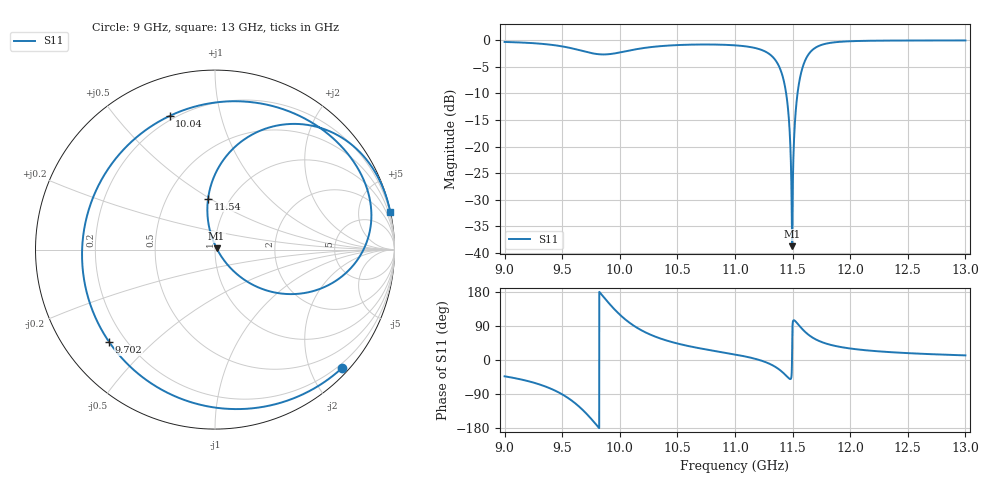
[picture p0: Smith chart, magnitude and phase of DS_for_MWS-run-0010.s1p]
! TOUCHSTONE file generated by CST DESIGN STUDIO
! Date and time: Tue Feb  4 18:08:24 2025
! Project name: C:\Work\MatlabApps\UnitCellOptimizationMatlab\CST\unitcell.cst
! Tree item: Tasks\Sweep1\SPara1\S-Parameters
! Header version: 2024
! Port assignment regex: !\s*Touchstone port\s*([0-9]+)\s*=\s*(CST MWS port|CST DES external port|CST DES block port)\s*(.+)\s* \(\"(.*)\"\)(\s*mode\s*([0-9]+))?.*
! Touchstone port assignment:
! Touchstone port 1 = CST DES external port 1 ("")
# GHz S MA R 50
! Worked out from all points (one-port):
!   4001 points, 9 GHz to 13 GHz, reference 50 ohm
!   lowest |S11| = -38.8 dB at 11.5 GHz (marker M1), VSWR 1.02, Z = 50.9 + j0.787 ohm
!   |S11| at or under -10 dB: 11.44 GHz to 11.54 GHz (98.51 MHz wide, 0.857 % of centre)
!   S11 on the Smith chart (normalised r, x): 9 GHz: 0.12, -2.53; 9.702 GHz: 0.14, -0.37; 10.04 GHz: 0.18, +0.70; 11.54 GHz: 0.79, +0.49; 13 GHz: 0.04, +9.35
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9  0.9675 -43.0
9.278  0.9373 -62.1
9.5  0.8786 -90.7
9.606  0.8316 -112.6
9.702  0.7827 -139.0
9.776  0.7514 -163.7
9.843  0.738 172.1
10  0.7701 119.8
10.041  0.7864 108.7
10.258  0.8621 67.9
10.5  0.9038 43.5
11  0.8988 14.6
11.243  0.8039 -3.1
11.383  0.5676 -24.9
11.449  0.2901 -42.8
11.467  0.1859 -48.1
11.483  0.0847 -50.1
11.496  0.01152 42.2
11.5  0.03222 95.3
11.51  0.09939 105.0
11.523  0.1877 102.7
11.538  0.2867 97.7
11.586  0.5536 81.1
11.662  0.794 61.3
11.796  0.9352 42.9
12  0.9825 30.4
12.5  0.9981 18.1
13  0.9992 12.2
